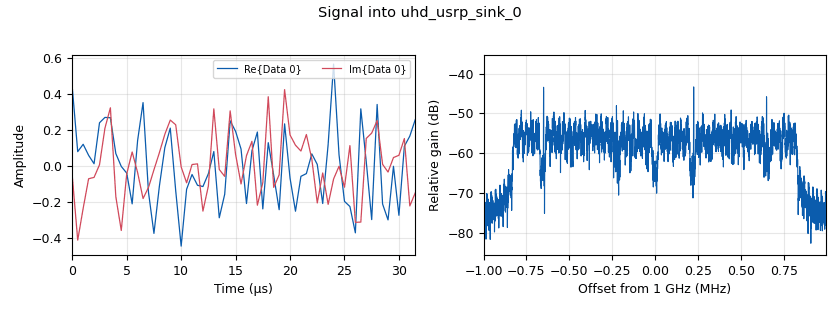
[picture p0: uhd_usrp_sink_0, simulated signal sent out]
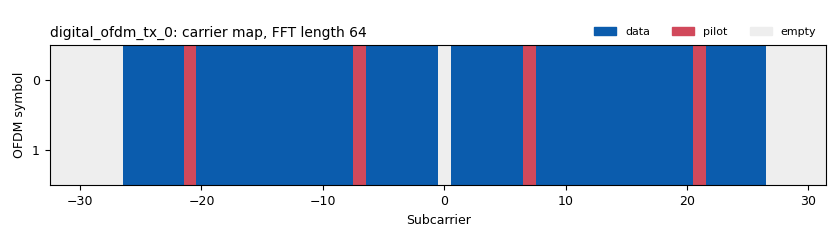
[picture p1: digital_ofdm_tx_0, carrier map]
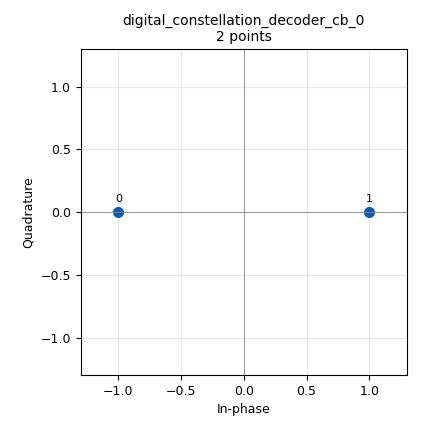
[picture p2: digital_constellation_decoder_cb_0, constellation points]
options:
  parameters:
    category: Custom
    description: Example of an OFDM receiver
    generate_options: qt_gui
    id: rx_ofdm
    output_language: python
    title: OFDM Rx
  states: {}

blocks:
- name: fft_len
  id: variable
  parameters:
    value: '64'
  states: {}
- name: header_equalizer
  id: variable
  parameters:
    value: digital.ofdm_equalizer_simpledfe(fft_len, header_mod.base(), occupied_carriers, pilot_carriers, pilot_symbols)
  states: {}
- name: header_formatter
  id: variable
  parameters:
    value: digital.packet_header_ofdm(occupied_carriers, n_syms=1, len_tag_key=packet_length_tag_key, frame_len_tag_key=length_tag_key, bits_per_header_sym=header_mod.bits_per_symbol(), bits_per_payload_sym=payload_mod.bits_per_symbol(), scramble_header=False)
  states: {}
- name: header_mod
  id: variable
  parameters:
    value: digital.constellation_bpsk()
  states: {}
- name: if_freq
  id: variable
  parameters:
    value: 1e9
  states: {}
- name: length_tag_key
  id: variable
  parameters:
    value: '"frame_len"'
  states: {}
- name: occupied_carriers
  id: variable
  parameters:
    value: (list(range(-26, -21)) + list(range(-20, -7)) + list(range(-6, 0)) + list(range(1, 7)) + list(range(8, 21)) + list(range(22, 27)),)
  states: {}
- name: packet_len
  id: variable
  parameters:
    value: '96'
  states: {}
- name: packet_length_tag_key
  id: variable
  parameters:
    value: '"packet_len"'
  states: {}
- name: payload_equalizer
  id: variable
  parameters:
    value: digital.ofdm_equalizer_simpledfe(fft_len, payload_mod.base(), occupied_carriers, pilot_carriers, pilot_symbols, 1, 0.1, 1, 1)
  states: {}
- name: payload_mod
  id: variable
  parameters:
    value: digital.constellation_qpsk()
  states: {}
- name: pilot_carriers
  id: variable
  parameters:
    value: ((-21, -7, 7, 21,),)
  states: {}
- name: pilot_symbols
  id: variable
  parameters:
    value: ((1, 1, 1, -1,),)
  states: {}
- name: rx_gain
  id: variable_qtgui_range
  parameters:
    start: '0'
    step: '1'
    stop: '72'
    value: '0'
  states: {}
- name: samp_rate
  id: variable
  parameters:
    value: 2E6
  states: {}
- name: sync_word1
  id: variable
  parameters:
    value: '[0., 0., 0., 0., 0., 0., 0., 1.41421356, 0., -1.41421356, 0., 1.41421356, 0., -1.41421356, 0., -1.41421356, 0., -1.41421356, 0., 1.41421356, 0., -1.41421356, 0., 1.41421356, 0., -1.41421356, 0., -1.41421356, 0., -1.41421356, 0., -1.41421356, 0., 1.41421356, 0., -1.41421356, 0., 1.41421356, 0., 1.41421356, 0., 1.41421356, 0., -1.41421356, 0., 1.41421356, 0., 1.41421356, 0., 1.41421356, 0., -1.41421356, 0., 1.41421356, 0., 1.41421356, 0., 1.41421356, 0., 0., 0., 0., 0., 0.]'
  states: {}
- name: sync_word2
  id: variable
  parameters:
    value: '[0j, 0j, 0j, 0j, 0j, 0j, (-1+0j), (-1+0j), (-1+0j), (-1+0j), (1+0j), (1+0j), (-1+0j), (-1+0j), (-1+0j), (1+0j), (-1+0j), (1+0j), (1+0j), (1 +0j), (1+0j), (1+0j), (-1+0j), (-1+0j), (-1+0j), (-1+0j), (-1+0j), (1+0j), (-1+0j), (-1+0j), (1+0j), (-1+0j), 0j, (1+0j), (-1+0j), (1+0j), (1+0j), (1+0j), (-1+0j), (1+0j), (1+0j), (1+0j), (-1+0j), (1+0j), (1+0j), (1+0j), (1+0j), (-1+0j), (1+0j), (-1+0j), (-1+0j), (-1+0j), (1+0j), (-1+0j), (1+0j), (-1+0j), (-1+0j), (-1+0j), (-1+0j), 0j, 0j, 0j, 0j, 0j]'
  states: {}
- name: tx_gain
  id: variable_qtgui_range
  parameters:
    start: '0'
    step: '1'
    stop: '90'
    value: '40'
  states: {}
- name: analog_frequency_modulator_fc_0
  id: analog_frequency_modulator_fc
  parameters:
    sensitivity: '-2.0/fft_len'
  states: {}
- name: analog_random_source_x_0
  id: analog_random_source_x
  parameters:
    max: '255'
    min: '0'
    num_samps: '1000'
    repeat: 'True'
    type: byte
  states: {}
- name: blocks_delay_0
  id: blocks_delay
  parameters:
    delay: fft_len+fft_len//4
    type: complex
  states: {}
- name: blocks_multiply_const_vxx_0
  id: blocks_multiply_const_vxx
  parameters:
    const: '0.02'
    type: complex
  states: {}
- name: blocks_multiply_xx_0
  id: blocks_multiply_xx
  parameters:
    type: complex
  states: {}
- name: blocks_repack_bits_bb_0
  id: blocks_repack_bits_bb
  parameters:
    align_output: 'True'
    endianness: gr.GR_LSB_FIRST
    k: payload_mod.bits_per_symbol()
    l: '8'
    len_tag_key: packet_length_tag_key
  states: {state: disabled}
- name: blocks_stream_to_tagged_stream_0
  id: blocks_stream_to_tagged_stream
  parameters:
    len_tag_key: packet_length_tag_key
    packet_len: packet_len
    type: byte
  states: {}
- name: blocks_throttle2_0
  id: blocks_throttle2
  parameters:
    samples_per_second: samp_rate
    type: complex
  states: {state: disabled}
- name: blocks_vector_to_stream_0
  id: blocks_vector_to_stream
  parameters:
    num_items: '64'
    type: complex
  states: {state: disabled}
- name: digital_constellation_decoder_cb_0
  id: digital_constellation_decoder_cb
  parameters:
    constellation: header_mod.base()
  states: {}
- name: digital_constellation_decoder_cb_1
  id: digital_constellation_decoder_cb
  parameters:
    constellation: payload_mod.base()
  states: {state: disabled}
- name: digital_crc32_bb_0
  id: digital_crc32_bb
  parameters:
    check: 'True'
    lengthtagname: packet_length_tag_key
    packed: 'True'
  states: {state: disabled}
- name: digital_header_payload_demux_0
  id: digital_header_payload_demux
  parameters:
    guard_interval: fft_len//4
    header_len: '3'
    header_padding: '0'
    items_per_symbol: fft_len
    length_tag_key: length_tag_key
    output_symbols: 'True'
    samp_rate: samp_rate
    special_tags: ()
    timing_tag_key: '"rx_time"'
    type: complex
  states: {}
- name: digital_ofdm_chanest_vcvc_0
  id: digital_ofdm_chanest_vcvc
  parameters:
    force_one_symbol: 'False'
    max_carr_offset: '3'
    n_data_symbols: '1'
    sync_symbol1: sync_word1
    sync_symbol2: sync_word2
  states: {}
- name: digital_ofdm_frame_equalizer_vcvc_0
  id: digital_ofdm_frame_equalizer_vcvc
  parameters:
    cp_len: fft_len//4
    equalizer: header_equalizer.base()
    fft_len: fft_len
    fixed_frame_len: '1'
    len_tag_key: length_tag_key
    propagate_channel_state: 'True'
  states: {}
- name: digital_ofdm_frame_equalizer_vcvc_1
  id: digital_ofdm_frame_equalizer_vcvc
  parameters:
    cp_len: fft_len//4
    equalizer: payload_equalizer.base()
    fft_len: fft_len
    len_tag_key: length_tag_key
    propagate_channel_state: 'True'
  states: {}
- name: digital_ofdm_serializer_vcc_header
  id: digital_ofdm_serializer_vcc
  parameters:
    carr_offset_key: ''
    fft_len: fft_len
    len_tag_key: length_tag_key
    occupied_carriers: occupied_carriers
    packet_len_tag_key: ''
  states: {}
- name: digital_ofdm_serializer_vcc_payload
  id: digital_ofdm_serializer_vcc
  parameters:
    carr_offset_key: ''
    fft_len: fft_len
    len_tag_key: length_tag_key
    occupied_carriers: occupied_carriers
    packet_len_tag_key: packet_length_tag_key
    symbols_skipped: '1'
  states: {}
- name: digital_ofdm_sync_sc_cfb_0
  id: digital_ofdm_sync_sc_cfb
  parameters:
    cp_len: fft_len//4
    fft_len: fft_len
    threshold: '0.9'
  states: {}
- name: digital_ofdm_tx_0
  id: digital_ofdm_tx
  parameters:
    cp_len: fft_len//4
    fft_len: fft_len
    header_mod: '"BPSK"'
    log: 'True'
    occupied_carriers: occupied_carriers
    packet_len_key: packet_length_tag_key
    payload_mod: '"QPSK"'
    pilot_carriers: pilot_carriers
    pilot_symbols: pilot_symbols
    rolloff: '0'
    sync_word1: sync_word1
    sync_word2: sync_word2
  states: {}
- name: digital_packet_headerparser_b_0
  id: digital_packet_headerparser_b
  parameters:
    header_formatter: header_formatter.base()
  states: {}
- name: fft_vxx_0
  id: fft_vxx
  parameters:
    fft_size: fft_len
    forward: 'True'
    shift: 'True'
    type: complex
    window: ()
  states: {}
- name: fft_vxx_1
  id: fft_vxx
  parameters:
    fft_size: fft_len
    forward: 'True'
    shift: 'True'
    type: complex
    window: ()
  states: {}
- name: import_1
  id: import
  parameters:
    imports: from gnuradio.digital.utils import tagged_streams
  states: {}
- name: qtgui_const_sink_x_0
  id: qtgui_const_sink_x
  parameters:
    grid: 'True'
    gui_hint: 1,0,1,1
    size: '64'
    type: complex
  states: {}
- name: qtgui_freq_sink_x_0
  id: qtgui_freq_sink_x
  parameters:
    average: '0.1'
    bw: samp_rate
    fc: '0'
    fftsize: '1024'
    gui_hint: 0,1,1,1
    type: complex
    ymin: '-100'
  states: {}
- name: qtgui_time_raster_sink_x_0
  id: qtgui_time_raster_sink_x
  parameters:
    grid: 'True'
    ncols: '256'
    nrows: '16'
    samp_rate: samp_rate
    type: byte
  states: {state: disabled}
- name: qtgui_time_sink_x_0
  id: qtgui_time_sink_x
  parameters:
    gui_hint: 1,1,1,1
    size: '1024'
    srate: samp_rate
    type: complex
    ymax: '1.2'
    ymin: '-1.2'
  states: {}
- name: qtgui_waterfall_sink_x_0
  id: qtgui_waterfall_sink_x
  parameters:
    bw: samp_rate
    fc: '0'
    fftsize: '1024'
    gui_hint: 0,0,1,1
    type: complex
  states: {}
- name: uhd_usrp_sink_0
  id: uhd_usrp_sink
  parameters:
    ant0: '"TX/RX"'
    center_freq0: if_freq
    gain0: tx_gain
    samp_rate: samp_rate
    sync: sync
    type: fc32
  states: {}
- name: uhd_usrp_source_0
  id: uhd_usrp_source
  parameters:
    ant0: '"RX2"'
    center_freq0: if_freq
    gain0: rx_gain
    rx_agc0: Disabled
    samp_rate: samp_rate
    sync: sync
    type: fc32
  states: {}
- name: virtual_sink_0
  id: virtual_sink
  parameters:
    stream_id: Header Stream
  states: {}
- name: virtual_sink_1
  id: virtual_sink
  parameters:
    stream_id: Payload Stream
  states: {}
- name: virtual_sink_1_0
  id: virtual_sink
  parameters:
    stream_id: Payload IQ
  states: {state: disabled}
- name: virtual_source_0
  id: virtual_source
  parameters:
    stream_id: Header Stream
  states: {}
- name: virtual_source_0_0
  id: virtual_source
  parameters:
    stream_id: Payload IQ
  states: {state: disabled}
- name: virtual_source_1
  id: virtual_source
  parameters:
    stream_id: Payload Stream
  states: {}

connections:
- [analog_frequency_modulator_fc_0, '0', blocks_multiply_xx_0, '1']
- [analog_random_source_x_0, '0', blocks_stream_to_tagged_stream_0, '0']
- [blocks_delay_0, '0', blocks_multiply_xx_0, '0']
- [blocks_multiply_const_vxx_0, '0', blocks_throttle2_0, '0']
- [blocks_multiply_const_vxx_0, '0', uhd_usrp_sink_0, '0']
- [blocks_multiply_xx_0, '0', digital_header_payload_demux_0, '0']
- [blocks_repack_bits_bb_0, '0', digital_crc32_bb_0, '0']
- [blocks_stream_to_tagged_stream_0, '0', digital_ofdm_tx_0, '0']
- [blocks_throttle2_0, '0', blocks_delay_0, '0']
- [blocks_throttle2_0, '0', digital_ofdm_sync_sc_cfb_0, '0']
- [blocks_vector_to_stream_0, '0', qtgui_const_sink_x_0, '0']
- [digital_constellation_decoder_cb_0, '0', digital_packet_headerparser_b_0, '0']
- [digital_constellation_decoder_cb_1, '0', blocks_repack_bits_bb_0, '0']
- [digital_crc32_bb_0, '0', qtgui_time_raster_sink_x_0, '0']
- [digital_header_payload_demux_0, '0', virtual_sink_0, '0']
- [digital_header_payload_demux_0, '1', virtual_sink_1, '0']
- [digital_ofdm_chanest_vcvc_0, '0', digital_ofdm_frame_equalizer_vcvc_0, '0']
- [digital_ofdm_frame_equalizer_vcvc_0, '0', digital_ofdm_serializer_vcc_header, '0']
- [digital_ofdm_frame_equalizer_vcvc_1, '0', digital_ofdm_serializer_vcc_payload, '0']
- [digital_ofdm_serializer_vcc_header, '0', digital_constellation_decoder_cb_0, '0']
- [digital_ofdm_serializer_vcc_payload, '0', qtgui_const_sink_x_0, '0']
- [digital_ofdm_serializer_vcc_payload, '0', virtual_sink_1_0, '0']
- [digital_ofdm_sync_sc_cfb_0, '0', analog_frequency_modulator_fc_0, '0']
- [digital_ofdm_sync_sc_cfb_0, '1', digital_header_payload_demux_0, '1']
- [digital_ofdm_tx_0, '0', blocks_multiply_const_vxx_0, '0']
- [digital_packet_headerparser_b_0, header_data, digital_header_payload_demux_0, header_data]
- [fft_vxx_0, '0', digital_ofdm_chanest_vcvc_0, '0']
- [fft_vxx_1, '0', digital_ofdm_frame_equalizer_vcvc_1, '0']
- [uhd_usrp_source_0, '0', blocks_delay_0, '0']
- [uhd_usrp_source_0, '0', digital_ofdm_sync_sc_cfb_0, '0']
- [uhd_usrp_source_0, '0', qtgui_freq_sink_x_0, '0']
- [uhd_usrp_source_0, '0', qtgui_time_sink_x_0, '0']
- [uhd_usrp_source_0, '0', qtgui_waterfall_sink_x_0, '0']
- [virtual_source_0, '0', fft_vxx_0, '0']
- [virtual_source_0_0, '0', digital_constellation_decoder_cb_1, '0']
- [virtual_source_1, '0', fft_vxx_1, '0']

metadata:
  file_format: 1
  grc_version: 3.10.9.2
